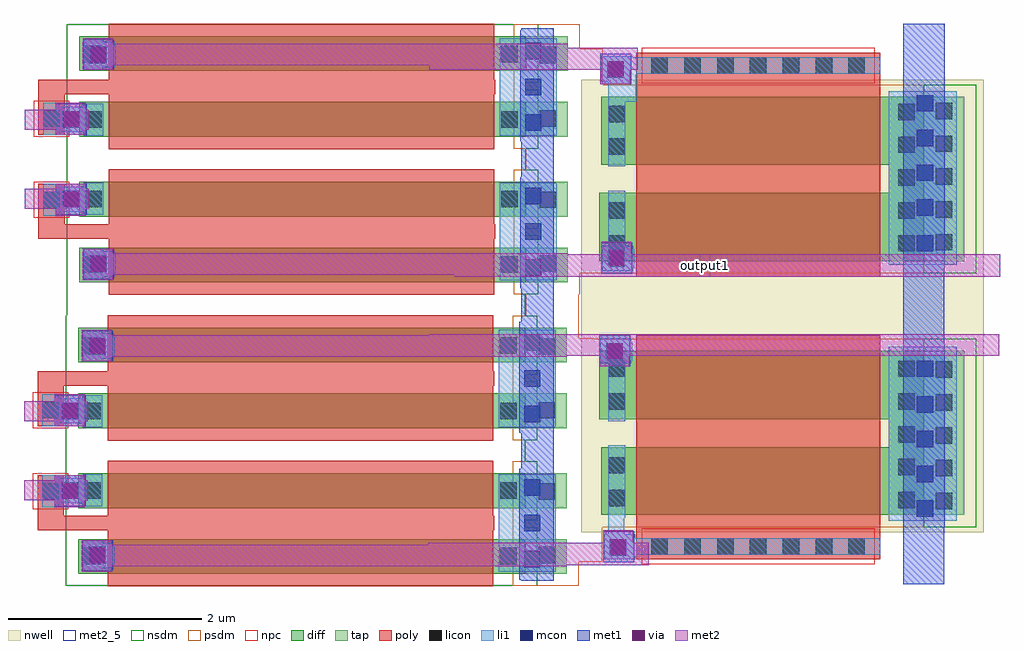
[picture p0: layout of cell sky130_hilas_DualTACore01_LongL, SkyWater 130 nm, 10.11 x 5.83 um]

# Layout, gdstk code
import gdstk
lib = gdstk.Library(unit=1e-6, precision=1e-09)
def R(c, l, rs):  # rectangles x0, y0, x1, y1
    for r in rs: c.add(gdstk.rectangle(r[:2], r[2:], *l))
def A(c, l, x, y, w, h, nx, ny, dx, dy):  # array of equal rectangles
    R(c, l, [(x+i*dx, y+j*dy, x+i*dx+w, y+j*dy+h) for i in range(nx) for j in range(ny)])
nwell = (64, 20)
diff = (65, 20)
tap = (65, 44)
poly = (66, 20)
licon = (66, 44)
li1 = (67, 20)
mcon = (67, 44)
met1 = (68, 20)
via = (68, 44)
met2_5 = (69, 5)
met2 = (69, 20)
nsdm = (93, 44)
psdm = (94, 20)
npc = (95, 20)

sky130_hilas_li2m2 = lib.new_cell('sky130_hilas_li2m2')
R(sky130_hilas_li2m2, li1, [(-0.13,-0.12,0.19,-0.09), (-0.13,-0.09,0.2,0.1), (-0.13,0.1,0.19,0.14)])
R(sky130_hilas_li2m2, mcon, [(-0.07,-0.08,0.1,0.09)])
R(sky130_hilas_li2m2, met1, [(-0.14,-0.15,0.18,0.17)])
R(sky130_hilas_li2m2, via, [(-0.055,-0.065,0.095,0.085)])
R(sky130_hilas_li2m2, met2, [(-0.14,-0.15,0.17,0.18)])

sky130_hilas_pfetmirror0 = lib.new_cell('sky130_hilas_pFETmirror02_LongL')
R(sky130_hilas_pfetmirror0, nwell, [(-1.73,1.26,2.44,3.33)])
R(sky130_hilas_pfetmirror0, diff, [(-1.52,1.44,1.82,2.14), (1.46,2.14,1.82,2.43), (-1.54,2.43,1.82,3.14)])
R(sky130_hilas_pfetmirror0, tap, [(1.82,1.44,2.24,3.14)])
R(sky130_hilas_pfetmirror0, poly, [(-1.16,0.98,1.37,3.3)])
A(sky130_hilas_pfetmirror0, licon, -1, 1.03, 0.17, 0.17, 7, 1, 0.34, 0)
A(sky130_hilas_pfetmirror0, licon, 1.945, 1.5, 0.17, 0.17, 1, 5, 0, 0.34)
A(sky130_hilas_pfetmirror0, licon, 1.555, 1.51, 0.17, 0.17, 1, 5, 0, 0.34)
R(sky130_hilas_pfetmirror0, licon, [(-1.445,1.53,-1.275,1.7), (-1.445,1.87,-1.275,2.04), (-1.445,2.53,-1.275,2.7), (-1.445,2.87,-1.275,3.04)])
R(sky130_hilas_pfetmirror0, li1, [(-1.45,1.03,1.37,1.2), (-1.45,1.2,-1.28,1.41), (1.46,1.38,2.16,3.18), (-1.45,1.41,-1.27,2.16), (-1.45,2.41,-1.27,3.16)])
A(sky130_hilas_pfetmirror0, mcon, 1.75, 1.42, 0.17, 0.17, 1, 4, 0, 0.36)
R(sky130_hilas_pfetmirror0, mcon, [(1.75,2.87,1.92,3.04)])
R(sky130_hilas_pfetmirror0, met1, [(1.61,1.32,2.04,3.21)])
R(sky130_hilas_pfetmirror0, nsdm, [(1.82,1.315,2.365,3.265)])
R(sky130_hilas_pfetmirror0, psdm, [(-1.645,1.315,1.82,2.305), (-1.665,2.305,1.82,3.265)])
R(sky130_hilas_pfetmirror0, npc, [(-1.1,0.93,1.31,1.3)])

sky130_hilas_nfet03_long = lib.new_cell('sky130_hilas_nFET03_LongL')
R(sky130_hilas_nfet03_long, diff, [(-0.31,-0.06,4.32,0.3)])
R(sky130_hilas_nfet03_long, poly, [(0,-0.19,3.99,0.43)])
R(sky130_hilas_nfet03_long, licon, [(-0.245,0.03,-0.075,0.2), (4.065,0.03,4.235,0.2)])
R(sky130_hilas_nfet03_long, li1, [(-0.26,-0.05,-0.06,0.28), (4.05,-0.05,4.25,0.28)])
R(sky130_hilas_nfet03_long, nsdm, [(-0.435,-0.185,4.445,0.425)])

sky130_hilas_li2m1 = lib.new_cell('sky130_hilas_li2m1')
R(sky130_hilas_li2m1, li1, [(-0.08,-0.05,0.11,0.18)])
R(sky130_hilas_li2m1, mcon, [(-0.07,-0.02,0.1,0.15)])
R(sky130_hilas_li2m1, met1, [(-0.1,-0.08,0.13,0.21)])

sky130_hilas_poly2li = lib.new_cell('sky130_hilas_poly2li')
R(sky130_hilas_poly2li, poly, [(-0.09,-0.14,0.18,0.19)])
R(sky130_hilas_poly2li, licon, [(-0.04,-0.06,0.13,0.11)])
R(sky130_hilas_poly2li, li1, [(-0.04,-0.14,0.13,0.19)])
R(sky130_hilas_poly2li, npc, [(-0.14,-0.16,0.23,0.21)])

sky130_hilas_nmirror03_l = lib.new_cell('sky130_hilas_nMirror03_LongL')
R(sky130_hilas_nmirror03_l, tap, [(0.82,0.07,1.25,0.43), (0.82,0.75,1.25,1.11)])
R(sky130_hilas_nmirror03_l, poly, [(-4.23,0.42,-3.96,0.51), (-4.23,0.51,0.5,0.66)])
R(sky130_hilas_nmirror03_l, licon, [(0.96,0.17,1.13,0.34), (0.96,0.83,1.13,1)])
R(sky130_hilas_nmirror03_l, li1, [(0.55,0.08,1.14,0.76), (0.75,0.76,1.14,1.09)])
R(sky130_hilas_nmirror03_l, mcon, [(0.81,0.13,0.98,0.3), (0.81,0.87,0.98,1.04)])
R(sky130_hilas_nmirror03_l, met1, [(0.76,0.02,1.03,1.17)])
R(sky130_hilas_nmirror03_l, met2, [(-4.37,0.14,-3.71,0.35), (-3.47,0.81,1.25,1.03)])
R(sky130_hilas_nmirror03_l, nsdm, [(-3.935,0.555,0.82,0.625)])
R(sky130_hilas_nmirror03_l, psdm, [(0.695,-0.055,1.375,1.235)])
sky130_hilas_nmirror03_l.add(gdstk.Reference(sky130_hilas_nfet03_long, (-3.5,0.81)))
sky130_hilas_nmirror03_l.add(gdstk.Reference(sky130_hilas_li2m2, (-3.91,0.24)))
sky130_hilas_nmirror03_l.add(gdstk.Reference(sky130_hilas_li2m1, (0.88,0.52)))
sky130_hilas_nmirror03_l.add(gdstk.Reference(sky130_hilas_nfet03_long, (-3.5,0.13)))
sky130_hilas_nmirror03_l.add(gdstk.Reference(sky130_hilas_poly2li, (-4.14,0.23)))
sky130_hilas_nmirror03_l.add(gdstk.Reference(sky130_hilas_li2m2, (-3.63,0.91)))

sky130_hilas_dualtacore0 = lib.new_cell('sky130_hilas_DualTACore01_LongL')
R(sky130_hilas_dualtacore0, nwell, [(0.21,2.35,4.38,2.9)])
R(sky130_hilas_dualtacore0, li1, [(0.49,4.74,0.78,5.19)])
R(sky130_hilas_dualtacore0, met1, [(3.55,-0.26,3.97,4.91), (-0.41,-0.22,-0.07,5.5), (3.55,4.91,3.98,5.55)])
R(sky130_hilas_dualtacore0, met2_5, [(1.44,2.93,1.55,3.16)])
R(sky130_hilas_dualtacore0, met2, [(-1.37,-0.06,0.91,0.17), (-1.36,2.11,4.54,2.33), (-1.1,2.93,4.55,3.16), (-1.36,5.07,0.8,5.3)])
R(sky130_hilas_dualtacore0, nsdm, [(-5.125,1.015,-0.37,1.235), (-5.115,2.525,-0.37,2.745), (-5.115,4.035,-0.36,4.255)])
R(sky130_hilas_dualtacore0, psdm, [(0.185,-0.025,0.43,0.335), (0.185,0.335,0.295,1.015), (-0.37,1.015,0.295,1.235), (0.185,1.235,0.295,1.325), (0.185,1.325,0.275,2.285), (0.185,2.285,0.34,2.29), (-0.36,2.525,0.185,2.745), (0.195,2.965,0.275,3.925), (0.195,3.925,0.295,4.035), (-0.36,4.035,0.295,4.255), (0.195,4.255,0.295,4.915), (0.195,4.915,0.435,5.29)])
sky130_hilas_dualtacore0.add(gdstk.Reference(sky130_hilas_li2m2, (0.54,2.15)))
sky130_hilas_dualtacore0.add(gdstk.Reference(sky130_hilas_li2m2, (0.58,0.12)))
sky130_hilas_dualtacore0.add(gdstk.Reference(sky130_hilas_pfetmirror0, (1.94,-0.98)))
sky130_hilas_dualtacore0.add(gdstk.Reference(sky130_hilas_nmirror03_l, (-1.19,0.96), x_reflection=True))
sky130_hilas_dualtacore0.add(gdstk.Reference(sky130_hilas_nmirror03_l, (-1.19,1.29)))
sky130_hilas_dualtacore0.add(gdstk.Reference(sky130_hilas_li2m2, (0.56,3.11)))
sky130_hilas_dualtacore0.add(gdstk.Reference(sky130_hilas_pfetmirror0, (1.94,6.23), x_reflection=True))
sky130_hilas_dualtacore0.add(gdstk.Reference(sky130_hilas_nmirror03_l, (-1.18,4.31)))
sky130_hilas_dualtacore0.add(gdstk.Reference(sky130_hilas_nmirror03_l, (-1.18,3.98), x_reflection=True))
sky130_hilas_dualtacore0.add(gdstk.Reference(sky130_hilas_li2m2, (0.55,5.07)))
sky130_hilas_dualtacore0.add(gdstk.Label('output1', (1.495,3.045), layer=69, texttype=5))

lib.write_gds('sky130_hilas_DualTACore01_LongL.gds')
